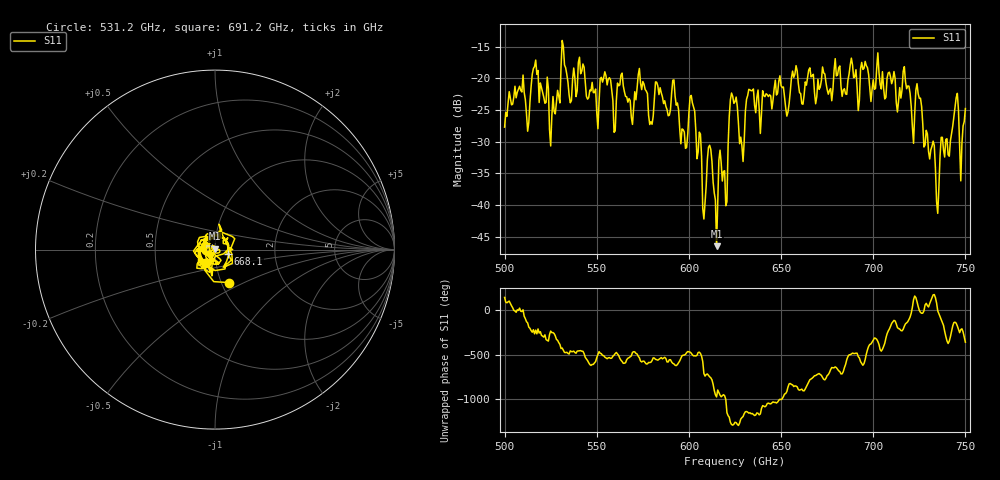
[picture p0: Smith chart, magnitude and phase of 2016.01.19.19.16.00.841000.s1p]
!Created with skrf (http://scikit-rf.org).
# GHz S RI R 50.0
!freq ReS11 ImS11
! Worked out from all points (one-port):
!   401 points, 500 GHz to 750 GHz, reference 50 ohm
!   lowest |S11| = -46.5 dB at 615 GHz (marker M1), VSWR 1.01, Z = 49.9 + j0.46 ohm
!   |S11| at or under -10 dB: start of sweep to end of sweep
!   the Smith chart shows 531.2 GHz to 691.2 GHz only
!   S11 on the Smith chart (normalised r, x): 531.2 GHz: 1.09, -0.42; 668.1 GHz: 1.16, -0.06; 691.2 GHz: 0.90, -0.12
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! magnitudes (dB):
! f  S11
! 500 GHz  -27.7
! 508.8 GHz  -21.9
! 512.5 GHz  -28.3
! 516.9 GHz  -17.1
! 525.6 GHz  -25.9
! 531.2 GHz  -14.0
! 559.4 GHz  -28.5
! 562.5 GHz  -21.0
! 593.8 GHz  -23.9
! 598.1 GHz  -31.0
! 601.9 GHz  -23.9
! 608.1 GHz  -42.2
! 611.2 GHz  -30.6
! 615 GHz  -46.5
! 619.4 GHz  -34.6
! 625 GHz  -23.7
! 628.8 GHz  -30.6
! 633.1 GHz  -21.8
! 656.2 GHz  -18.8
! 668.1 GHz  -22.2
! 687.5 GHz  -17.9
! 691.2 GHz  -21.5
! 718.8 GHz  -21.2
! 725 GHz  -23.1
! 735 GHz  -41.3
! 745 GHz  -23.0
! 748.1 GHz  -30.2
! 750 GHz  -24.7
